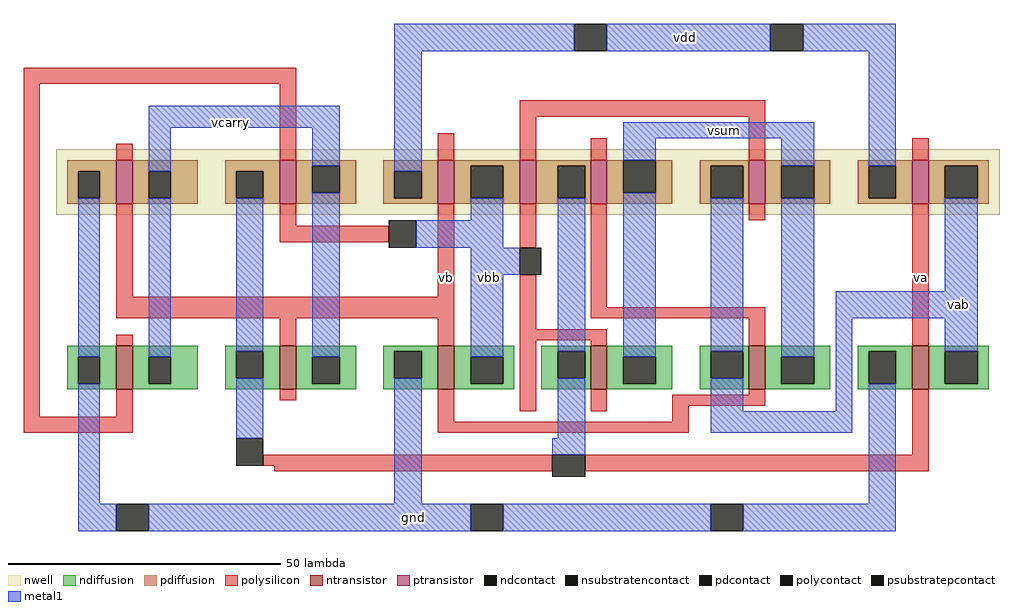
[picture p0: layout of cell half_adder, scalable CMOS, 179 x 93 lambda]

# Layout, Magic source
magic
tech scmos
<< nwell >>
rect -36 -2 137 10
<< polysilicon >>
rect -42 22 8 25
rect -42 -39 -39 22
rect -25 8 -22 11
rect 5 8 8 22
rect 49 16 94 19
rect 34 8 37 13
rect 49 8 52 16
rect 62 8 65 12
rect 91 8 94 16
rect 121 8 124 12
rect -25 -17 -22 0
rect 5 -4 8 0
rect 5 -7 25 -4
rect 34 -17 37 0
rect -25 -21 37 -17
rect -25 -26 -22 -24
rect 5 -26 8 -21
rect 34 -26 37 -21
rect 49 -8 52 0
rect 49 -23 52 -13
rect 62 -19 65 0
rect 91 -3 94 0
rect 62 -21 94 -19
rect 49 -25 65 -23
rect -25 -39 -22 -34
rect 5 -36 8 -34
rect -42 -42 -22 -39
rect 34 -40 37 -34
rect 49 -38 52 -25
rect 62 -26 65 -25
rect 91 -26 94 -21
rect 121 -26 124 0
rect 62 -38 65 -34
rect 91 -35 94 -34
rect 77 -37 94 -35
rect 77 -40 80 -37
rect 34 -42 80 -40
rect 121 -46 124 -34
rect 2 -48 55 -46
rect 4 -49 55 -48
rect 61 -49 124 -46
<< ndiffusion >>
rect -34 -28 -25 -26
rect -34 -33 -32 -28
rect -28 -33 -25 -28
rect -34 -34 -25 -33
rect -22 -28 -10 -26
rect -22 -33 -19 -28
rect -15 -33 -10 -28
rect -22 -34 -10 -33
rect -5 -27 5 -26
rect -5 -32 -3 -27
rect 2 -32 5 -27
rect -5 -34 5 -32
rect 8 -28 19 -26
rect 8 -33 11 -28
rect 16 -33 19 -28
rect 8 -34 19 -33
rect 24 -27 34 -26
rect 24 -32 26 -27
rect 31 -32 34 -27
rect 24 -34 34 -32
rect 37 -28 48 -26
rect 37 -33 40 -28
rect 46 -33 48 -28
rect 37 -34 48 -33
rect 53 -27 62 -26
rect 53 -32 56 -27
rect 61 -32 62 -27
rect 53 -34 62 -32
rect 65 -28 77 -26
rect 65 -33 68 -28
rect 74 -33 77 -28
rect 65 -34 77 -33
rect 82 -27 91 -26
rect 82 -32 84 -27
rect 90 -32 91 -27
rect 82 -34 91 -32
rect 94 -28 106 -26
rect 94 -33 97 -28
rect 103 -33 106 -28
rect 94 -34 106 -33
rect 111 -27 121 -26
rect 111 -33 113 -27
rect 118 -33 121 -27
rect 111 -34 121 -33
rect 124 -27 135 -26
rect 124 -33 127 -27
rect 133 -33 135 -27
rect 124 -34 135 -33
<< pdiffusion >>
rect -34 6 -25 8
rect -34 1 -32 6
rect -28 1 -25 6
rect -34 0 -25 1
rect -22 6 -10 8
rect -22 1 -19 6
rect -15 1 -10 6
rect -22 0 -10 1
rect -5 6 5 8
rect -5 1 -3 6
rect 2 1 5 6
rect -5 0 5 1
rect 8 7 19 8
rect 8 2 11 7
rect 16 2 19 7
rect 8 0 19 2
rect 24 6 34 8
rect 24 1 26 6
rect 31 1 34 6
rect 24 0 34 1
rect 37 7 49 8
rect 37 1 40 7
rect 46 1 49 7
rect 37 0 49 1
rect 52 7 62 8
rect 52 1 56 7
rect 61 1 62 7
rect 52 0 62 1
rect 65 2 68 8
rect 74 2 77 8
rect 65 0 77 2
rect 82 7 91 8
rect 82 1 84 7
rect 90 1 91 7
rect 82 0 91 1
rect 94 7 106 8
rect 94 1 97 7
rect 103 1 106 7
rect 94 0 106 1
rect 111 7 121 8
rect 111 1 113 7
rect 118 1 121 7
rect 111 0 121 1
rect 124 7 135 8
rect 124 1 127 7
rect 133 1 135 7
rect 124 0 135 1
<< metal1 >>
rect 26 28 59 33
rect 65 28 95 33
rect 101 28 118 33
rect -19 14 16 18
rect -19 6 -15 14
rect 11 7 16 14
rect -32 -28 -28 1
rect -19 -28 -15 1
rect -3 -27 2 1
rect -32 -55 -28 -33
rect -3 -43 2 -32
rect 11 -28 16 2
rect 26 6 31 28
rect 68 12 103 15
rect 68 8 74 12
rect 40 -3 46 1
rect 30 -8 46 -3
rect 40 -13 49 -8
rect 26 -55 31 -32
rect 40 -28 46 -13
rect 56 -27 61 1
rect 56 -43 61 -32
rect 97 7 103 12
rect 68 -28 74 2
rect 84 -27 90 1
rect 84 -38 90 -32
rect 113 7 118 28
rect 97 -28 103 1
rect 127 -16 133 1
rect 107 -21 133 -16
rect 107 -38 110 -21
rect 127 -27 133 -21
rect 84 -42 110 -38
rect 55 -46 61 -43
rect 113 -55 118 -33
rect -32 -60 -25 -55
rect -19 -60 40 -55
rect 46 -60 84 -55
rect 90 -60 118 -55
<< ntransistor >>
rect -25 -34 -22 -26
rect 5 -34 8 -26
rect 34 -34 37 -26
rect 62 -34 65 -26
rect 91 -34 94 -26
rect 121 -34 124 -26
<< ptransistor >>
rect -25 0 -22 8
rect 5 0 8 8
rect 34 0 37 8
rect 49 0 52 8
rect 62 0 65 8
rect 91 0 94 8
rect 121 0 124 8
<< polycontact >>
rect 25 -8 30 -3
rect 49 -13 53 -8
rect -3 -48 2 -43
rect 55 -50 61 -46
<< ndcontact >>
rect -32 -33 -28 -28
rect -19 -33 -15 -28
rect -3 -32 2 -27
rect 11 -33 16 -28
rect 26 -32 31 -27
rect 40 -33 46 -28
rect 56 -32 61 -27
rect 68 -33 74 -28
rect 84 -32 90 -27
rect 97 -33 103 -28
rect 113 -33 118 -27
rect 127 -33 133 -27
<< pdcontact >>
rect -32 1 -28 6
rect -19 1 -15 6
rect -3 1 2 6
rect 11 2 16 7
rect 26 1 31 6
rect 40 1 46 7
rect 56 1 61 7
rect 68 2 74 8
rect 84 1 90 7
rect 97 1 103 7
rect 113 1 118 7
rect 127 1 133 7
<< psubstratepcontact >>
rect -25 -60 -19 -55
rect 40 -60 46 -55
rect 84 -60 90 -55
<< nsubstratencontact >>
rect 59 28 65 33
rect 95 28 101 33
<< labels >>
rlabel metal1 79 30 80 31 5 vdd
rlabel polysilicon 35 -14 36 -13 1 vb
rlabel metal1 43 -14 44 -13 1 vbb
rlabel polysilicon 122 -14 123 -13 1 va
rlabel metal1 129 -19 130 -18 1 vab
rlabel metal1 86 13 87 14 1 vsum
rlabel metal1 -4 15 -4 15 1 vcarry
rlabel metal1 29 -58 30 -57 1 gnd
<< end >>
